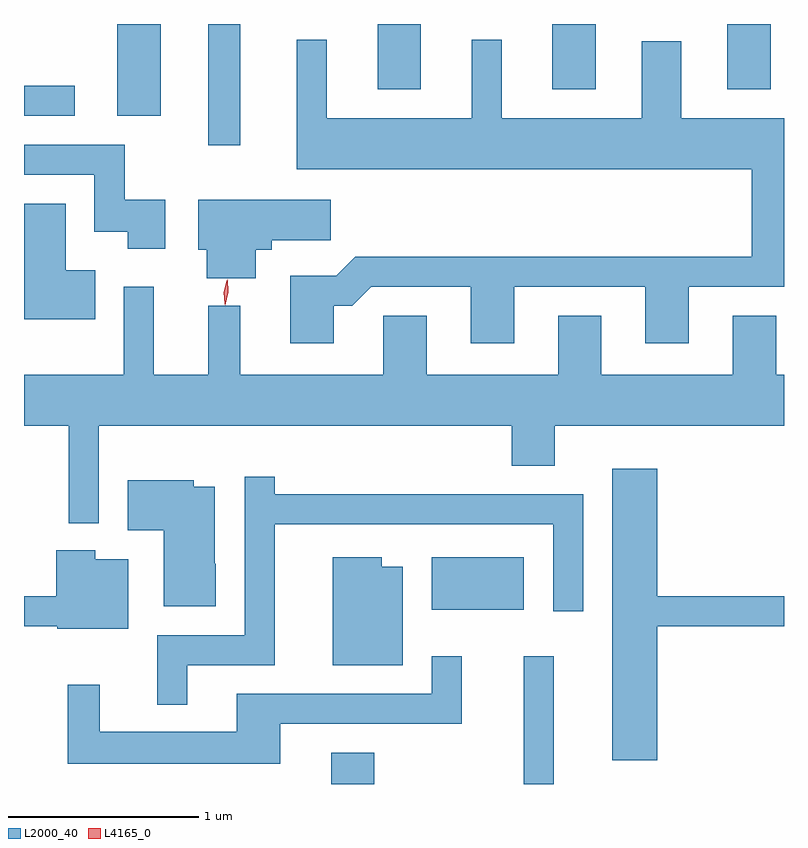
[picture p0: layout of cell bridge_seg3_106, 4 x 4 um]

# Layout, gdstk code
import gdstk
lib = gdstk.Library(unit=1e-6, precision=1e-09)
def R(c, l, rs):  # rectangles x0, y0, x1, y1
    for r in rs: c.add(gdstk.rectangle(r[:2], r[2:], *l))
def A(c, l, x, y, w, h, nx, ny, dx, dy):  # array of equal rectangles
    R(c, l, [(x+i*dx, y+j*dy, x+i*dx+w, y+j*dy+h) for i in range(nx) for j in range(ny)])
def P(c, l, *ps):  # polygons
    for p in ps: c.add(gdstk.Polygon(p, *l))
L2000_40 = (2000, 40)
L4165_0 = (4165, 0)

bridge_seg3_106 = lib.new_cell('bridge_seg3_106')
A(bridge_seg3_106, L2000_40, 949.951, 1247.666, 0.228, 0.344, 3, 1, 0.92, 0)
R(bridge_seg3_106, L2000_40, [(949.706,1244.01,949.934,1244.174), (950.721,1244.01,950.879,1244.683), (950.236,1244.926,950.719,1245.204), (949.061,1247.373,949.229,1248.01), (948.09,1247.526,948.358,1247.684), (948.581,1247.526,948.809,1248.01)])
P(bridge_seg3_106, L2000_40, [(949.719,1246.526),(949.817,1246.526),(949.917,1246.626),(950.441,1246.626),(950.441,1246.331),(950.669,1246.331),(950.669,1246.626),(951.361,1246.626),(951.361,1246.331),(951.589,1246.331),(951.589,1246.626),(952.09,1246.626),(952.09,1247.514),(951.549,1247.514),(951.549,1247.919),(951.341,1247.919),(951.341,1247.514),(950.604,1247.514),(950.604,1247.928),(950.446,1247.928),(950.446,1247.514),(949.684,1247.514),(949.684,1247.928),(949.526,1247.928),(949.526,1247.246),(951.921,1247.246),(951.921,1246.784),(949.834,1246.784),(949.734,1246.684),(949.491,1246.684),(949.491,1246.331),(949.719,1246.331)],
  [(948.834,1247.084),(948.619,1247.084),(948.619,1247.374),(948.09,1247.374),(948.09,1247.216),(948.461,1247.216),(948.461,1246.916),(948.636,1246.916),(948.636,1246.826),(948.834,1246.826)],
  [(949.309,1246.821),(949.394,1246.821),(949.394,1246.871),(949.704,1246.871),(949.704,1247.084),(949.006,1247.084),(949.006,1246.821),(949.051,1246.821),(949.051,1246.671),(949.309,1246.671)],
  [(948.464,1246.714),(948.309,1246.714),(948.309,1247.064),(948.09,1247.064),(948.09,1246.456),(948.464,1246.456)],
  [(951.821,1246.474),(951.821,1246.164),(951.129,1246.164),(951.129,1246.474),(950.901,1246.474),(950.901,1246.164),(950.209,1246.164),(950.209,1246.474),(949.981,1246.474),(949.981,1246.164),(949.229,1246.164),(949.229,1246.528),(949.061,1246.528),(949.061,1246.164),(948.774,1246.164),(948.774,1246.628),(948.616,1246.628),(948.616,1246.164),(948.09,1246.164),(948.09,1245.896),(948.326,1245.896),(948.326,1245.383),(948.484,1245.383),(948.484,1245.896),(950.656,1245.896),(950.656,1245.686),(950.884,1245.686),(950.884,1245.896),(952.09,1245.896),(952.09,1246.164),(952.049,1246.164),(952.049,1246.474)],
  [(951.424,1244.841),(952.09,1244.841),(952.09,1244.999),(951.424,1244.999),(951.424,1245.669),(951.186,1245.669),(951.186,1244.136),(951.424,1244.136)],
  [(948.949,1244.636),(949.409,1244.636),(949.409,1245.376),(950.876,1245.376),(950.876,1244.918),(951.034,1244.918),(951.034,1245.534),(949.409,1245.534),(949.409,1245.628),(949.251,1245.628),(949.251,1244.794),(948.791,1244.794),(948.791,1244.428),(948.949,1244.428)],
  [(949.099,1245.17),(949.094,1245.17),(949.094,1245.574),(948.984,1245.574),(948.984,1245.609),(948.636,1245.609),(948.636,1245.346),(948.826,1245.346),(948.826,1244.946),(949.099,1244.946)],
  [(948.639,1245.194),(948.464,1245.194),(948.464,1245.239),(948.261,1245.239),(948.261,1244.999),(948.09,1244.999),(948.09,1244.841),(948.265,1244.841),(948.265,1244.826),(948.639,1244.826)],
  [(950.084,1245.154),(949.974,1245.154),(949.974,1245.204),(949.716,1245.204),(949.716,1244.636),(950.084,1244.636)],
  [(949.439,1244.326),(950.394,1244.326),(950.394,1244.683),(950.236,1244.683),(950.236,1244.484),(949.211,1244.484),(949.211,1244.284),(948.489,1244.284),(948.489,1244.533),(948.321,1244.533),(948.321,1244.116),(949.439,1244.116)])
P(bridge_seg3_106, L4165_0, [(949.149,1246.53),(949.149,1246.531),(949.146,1246.599),(949.162,1246.666),(949.162,1246.666),(949.163,1246.666),(949.166,1246.597),(949.15,1246.531)],
  [(949.146,1246.534),(949.142,1246.599),(949.157,1246.662),(949.158,1246.662),(949.158,1246.662),(949.162,1246.597),(949.147,1246.534),(949.147,1246.534)])

lib.write_gds('bridge_seg3_106.gds')
